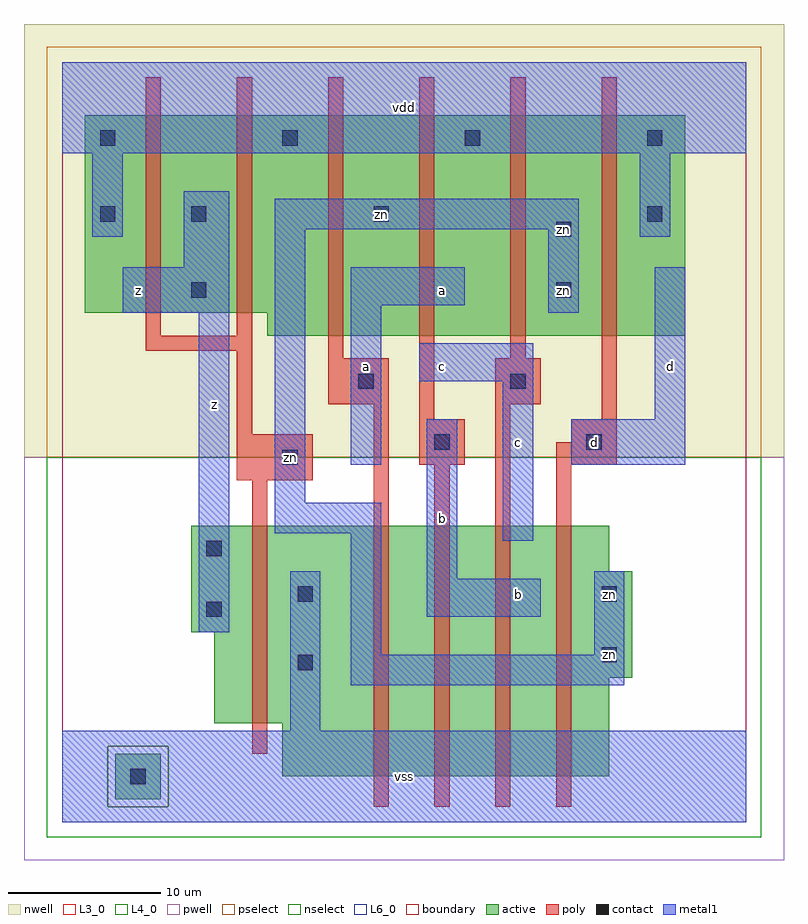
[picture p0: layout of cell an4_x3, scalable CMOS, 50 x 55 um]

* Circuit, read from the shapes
.subckt an4_x3 a b c d vdd vss z zn
M1 vss zn z vss nfet w=13u l=1u
M2 n1 a vss vss nfet w=16.5u l=1u
M3 n2 b n1 vss nfet w=16.5u l=1u
M4 n3 c n2 vss nfet w=16.5u l=1u
M5 zn d n3 vss nfet w=16.5u l=1u
M6 z zn vdd n4 pfet w=13u l=1u m=2
M7 zn a vdd n4 pfet w=14.5u l=1u
M8 vdd b zn n4 pfet w=14.5u l=1u
M9 zn c vdd n4 pfet w=14.5u l=1u
M10 vdd d zn n4 pfet w=14.5u l=1u
.ends

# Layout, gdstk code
import gdstk
lib = gdstk.Library(unit=1e-6, precision=1e-09)
def R(c, l, rs):  # rectangles x0, y0, x1, y1
    for r in rs: c.add(gdstk.rectangle(r[:2], r[2:], *l))
def A(c, l, x, y, w, h, nx, ny, dx, dy):  # array of equal rectangles
    R(c, l, [(x+i*dx, y+j*dy, x+i*dx+w, y+j*dy+h) for i in range(nx) for j in range(ny)])
L3_0 = (3, 0)
L4_0 = (4, 0)
L6_0 = (6, 0)
contact = (25, 0)
pwell = (41, 0)
nwell = (42, 0)
active = (43, 0)
pselect = (44, 0)
nselect = (45, 0)
poly = (46, 0)
metal1 = (49, 0)
boundary = (63, 0)

an4_x3 = lib.new_cell('an4_x3')
R(an4_x3, L3_0, [(14.5,3,36,6.5), (10,6.5,36,9.5), (10,9.5,37.5,12.5), (8.5,12.5,37.5,16.5), (8.5,16.5,36,19.5)])
R(an4_x3, L4_0, [(13.5,32,41,33.5), (1.5,33.5,41,46.5)])
R(an4_x3, L6_0, [(3.5,1.5,6.5,4.5)])
A(an4_x3, contact, 2.5, 44.5, 1, 1, 4, 1, 12, 0)
R(an4_x3, contact, [(4.5,2.5,5.5,3.5), (15.5,10,16.5,11), (35.5,10.5,36.5,11.5), (9.5,13.5,10.5,14.5), (15.5,14.5,16.5,15.5), (35.5,14.5,36.5,15.5), (9.5,17.5,10.5,18.5), (14.5,23.5,15.5,24.5), (24.5,24.5,25.5,25.5), (34.5,24.5,35.5,25.5), (19.5,28.5,20.5,29.5), (29.5,28.5,30.5,29.5), (8.5,34.5,9.5,35.5), (32.5,34.5,33.5,35.5), (32.5,38.5,33.5,39.5), (2.5,39.5,3.5,40.5), (8.5,39.5,9.5,40.5), (20.5,39.5,21.5,40.5), (38.5,39.5,39.5,40.5)])
R(an4_x3, pwell, [(-2.5,-2.5,47.5,24)])
R(an4_x3, nwell, [(-2.5,24,47.5,52.5)])
R(an4_x3, active, [(3.5,1.5,6.5,4.5), (14.5,3,36,6.5), (10,6.5,36,9.5), (10,9.5,37.5,12.5), (8.5,12.5,37.5,16.5), (8.5,16.5,36,19.5), (13.5,32,41,33.5), (1.5,33.5,41,46.5)])
R(an4_x3, pselect, [(3,1,7,5), (-1,24,46,51)])
R(an4_x3, nselect, [(-1,-1,46,1), (-1,1,3,5), (7,1,46,5), (-1,5,46,24)])
R(an4_x3, poly, [(20.5,1,21.5,27.5), (24.5,1,25.5,23.5), (28.5,1,29.5,27.5), (32.5,1,33.5,23.5), (12.5,4.5,13.5,22.5), (11.5,22.5,16.5,25.5), (23.5,23.5,26.5,26.5), (32.5,23.5,36.5,25), (33.5,25,36.5,26.5), (11.5,25.5,12.5,31), (23.5,26.5,24.5,49), (35.5,26.5,36.5,49), (17.5,27.5,21.5,30.5), (28.5,27.5,31.5,30.5), (17.5,30.5,18.5,49), (29.5,30.5,30.5,49), (5.5,31,12.5,32), (5.5,32,6.5,49), (11.5,32,12.5,49)])
R(an4_x3, metal1, [(0,0,45,6), (0,0,45,6), (15,6,17,16.5), (15,6,17,16.5), (19,9,37,11), (19,9,37,11), (19,11,21,19), (19,11,21,19), (35,11,37,16.5), (35,11,37,16.5), (9,12.5,11,33.5), (9,12.5,11,33.5), (24,13.5,31.5,16), (24,13.5,31.5,16), (24,16,26,26.5), (24,16,26,26.5), (29,18.5,31,29), (29,18.5,31,29), (14,19,21,21), (14,19,21,21), (14,21,16,39), (14,21,16,39), (19,23.5,21,34), (19,23.5,21,34), (33.5,23.5,41,26.5), (33.5,23.5,41,26.5), (39,26.5,41,36.5), (39,26.5,41,36.5), (23.5,29,31,31.5), (23.5,29,31,31.5), (4,33.5,11,36.5), (4,33.5,11,36.5), (32,33.5,34,39), (32,33.5,34,39), (19,34,26.5,36.5), (19,34,26.5,36.5), (8,36.5,11,41.5), (8,36.5,11,41.5), (2,38.5,4,44), (2,38.5,4,44), (38,38.5,40,44), (38,38.5,40,44), (14,39,34,41), (14,39,34,41), (0,44,45,50), (0,44,45,50)])
R(an4_x3, boundary, [(0,0,45,50)])
an4_x3.add(gdstk.Label('zn', (15,24), layer=49, texttype=0))
an4_x3.add(gdstk.Label('zn', (21,40), layer=49, texttype=0))
an4_x3.add(gdstk.Label('zn', (36,11), layer=49, texttype=0))
an4_x3.add(gdstk.Label('zn', (36,15), layer=49, texttype=0))
an4_x3.add(gdstk.Label('zn', (33,35), layer=49, texttype=0))
an4_x3.add(gdstk.Label('zn', (33,39), layer=49, texttype=0))
an4_x3.add(gdstk.Label('z', (5,35), layer=49, texttype=0))
an4_x3.add(gdstk.Label('z', (10,27.5), layer=49, texttype=0))
an4_x3.add(gdstk.Label('a', (20,30), layer=49, texttype=0))
an4_x3.add(gdstk.Label('vss', (22.5,3), layer=49, texttype=0))
an4_x3.add(gdstk.Label('b', (30,15), layer=49, texttype=0))
an4_x3.add(gdstk.Label('b', (25,20), layer=49, texttype=0))
an4_x3.add(gdstk.Label('c', (30,25), layer=49, texttype=0))
an4_x3.add(gdstk.Label('a', (25,35), layer=49, texttype=0))
an4_x3.add(gdstk.Label('c', (25,30), layer=49, texttype=0))
an4_x3.add(gdstk.Label('vdd', (22.5,47), layer=49, texttype=0))
an4_x3.add(gdstk.Label('d', (35,25), layer=49, texttype=0))
an4_x3.add(gdstk.Label('d', (40,30), layer=49, texttype=0))

lib.write_gds('an4_x3.gds')
